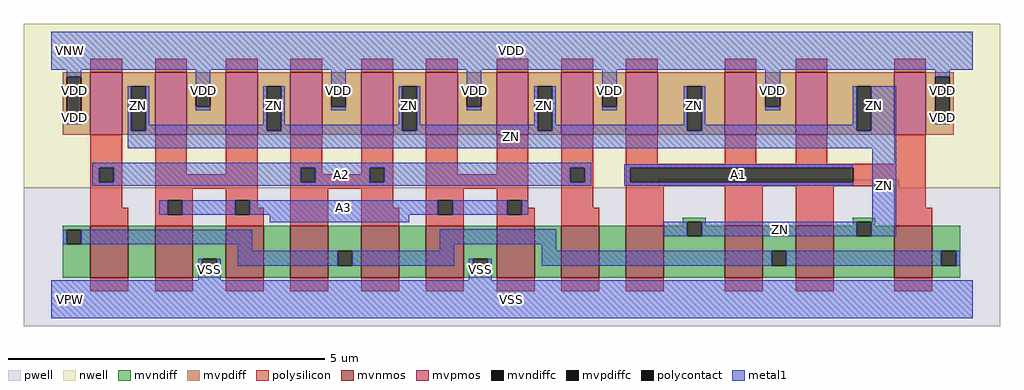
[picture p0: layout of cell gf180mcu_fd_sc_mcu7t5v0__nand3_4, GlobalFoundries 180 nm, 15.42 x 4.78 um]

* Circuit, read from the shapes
.subckt gf180mcu_fd_sc_mcu7t5v0__nand3_4 A1 A2 A3 ZN VDD VNW VPW VSS
XM1 n1 A2 n2 VPW nfet_06v0 w=0.82u l=0.6u
XM2 VSS A3 n1 VPW nfet_06v0 w=0.82u l=0.6u
XM3 n3 A3 VSS VPW nfet_06v0 w=0.82u l=0.6u
XM4 n2 A2 n3 VPW nfet_06v0 w=0.82u l=0.6u
XM5 n4 A2 n2 VPW nfet_06v0 w=0.82u l=0.6u
XM6 VSS A3 n4 VPW nfet_06v0 w=0.82u l=0.6u
XM7 n5 A3 VSS VPW nfet_06v0 w=0.82u l=0.6u
XM8 n6 A2 n5 VPW nfet_06v0 w=0.82u l=0.6u
XM9 ZN A1 n6 VPW nfet_06v0 w=0.82u l=0.6u
XM10 n2 A1 ZN VPW nfet_06v0 w=0.82u l=0.6u m=3
XM11 ZN A2 VDD VNW pfet_06v0 w=0.985u l=0.5u m=4
XM12 VDD A3 ZN VNW pfet_06v0 w=0.985u l=0.5u m=4
XM13 ZN A1 VDD VNW pfet_06v0 w=0.985u l=0.5u m=4
.ends

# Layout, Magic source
magic
tech gf180mcuD
magscale 1 10
<< nwell >>
rect -86 377 2998 870
rect -86 352 1922 377
rect 2678 352 2998 377
<< pwell >>
rect 1922 352 2678 377
rect -86 -86 2998 352
<< mvnmos >>
rect 124 68 244 232
rect 328 68 448 232
rect 552 68 672 232
rect 756 68 876 232
rect 980 68 1100 232
rect 1184 68 1304 232
rect 1408 68 1528 232
rect 1612 68 1732 232
rect 1816 68 1936 232
rect 2128 68 2248 232
rect 2352 68 2472 232
rect 2664 68 2784 232
<< mvpmos >>
rect 124 519 224 716
rect 328 519 428 716
rect 552 519 652 716
rect 756 519 856 716
rect 980 519 1080 716
rect 1184 519 1284 716
rect 1408 519 1508 716
rect 1612 519 1712 716
rect 1816 519 1916 716
rect 2128 519 2228 716
rect 2352 519 2452 716
rect 2664 519 2764 716
<< mvndiff >>
rect 1996 244 2068 257
rect 1996 232 2009 244
rect 36 219 124 232
rect 36 173 49 219
rect 95 173 124 219
rect 36 68 124 173
rect 244 68 328 232
rect 448 127 552 232
rect 448 81 477 127
rect 523 81 552 127
rect 448 68 552 81
rect 672 68 756 232
rect 876 152 980 232
rect 876 106 905 152
rect 951 106 980 152
rect 876 68 980 106
rect 1100 68 1184 232
rect 1304 127 1408 232
rect 1304 81 1333 127
rect 1379 81 1408 127
rect 1304 68 1408 81
rect 1528 68 1612 232
rect 1732 68 1816 232
rect 1936 198 2009 232
rect 2055 232 2068 244
rect 2532 244 2604 257
rect 2532 232 2545 244
rect 2055 198 2128 232
rect 1936 68 2128 198
rect 2248 152 2352 232
rect 2248 106 2277 152
rect 2323 106 2352 152
rect 2248 68 2352 106
rect 2472 198 2545 232
rect 2591 232 2604 244
rect 2591 198 2664 232
rect 2472 68 2664 198
rect 2784 152 2872 232
rect 2784 106 2813 152
rect 2859 106 2872 152
rect 2784 68 2872 106
<< mvpdiff >>
rect 36 703 124 716
rect 36 563 49 703
rect 95 563 124 703
rect 36 519 124 563
rect 224 672 328 716
rect 224 532 253 672
rect 299 532 328 672
rect 224 519 328 532
rect 428 654 552 716
rect 428 608 457 654
rect 503 608 552 654
rect 428 519 552 608
rect 652 672 756 716
rect 652 532 681 672
rect 727 532 756 672
rect 652 519 756 532
rect 856 654 980 716
rect 856 608 885 654
rect 931 608 980 654
rect 856 519 980 608
rect 1080 672 1184 716
rect 1080 532 1109 672
rect 1155 532 1184 672
rect 1080 519 1184 532
rect 1284 654 1408 716
rect 1284 608 1313 654
rect 1359 608 1408 654
rect 1284 519 1408 608
rect 1508 672 1612 716
rect 1508 532 1537 672
rect 1583 532 1612 672
rect 1508 519 1612 532
rect 1712 654 1816 716
rect 1712 608 1741 654
rect 1787 608 1816 654
rect 1712 519 1816 608
rect 1916 672 2128 716
rect 1916 532 2009 672
rect 2055 532 2128 672
rect 1916 519 2128 532
rect 2228 654 2352 716
rect 2228 608 2257 654
rect 2303 608 2352 654
rect 2228 519 2352 608
rect 2452 672 2664 716
rect 2452 532 2545 672
rect 2591 532 2664 672
rect 2452 519 2664 532
rect 2764 703 2852 716
rect 2764 563 2793 703
rect 2839 563 2852 703
rect 2764 519 2852 563
<< mvndiffc >>
rect 49 173 95 219
rect 477 81 523 127
rect 905 106 951 152
rect 1333 81 1379 127
rect 2009 198 2055 244
rect 2277 106 2323 152
rect 2545 198 2591 244
rect 2813 106 2859 152
<< mvpdiffc >>
rect 49 563 95 703
rect 253 532 299 672
rect 457 608 503 654
rect 681 532 727 672
rect 885 608 931 654
rect 1109 532 1155 672
rect 1313 608 1359 654
rect 1537 532 1583 672
rect 1741 608 1787 654
rect 2009 532 2055 672
rect 2257 608 2303 654
rect 2545 532 2591 672
rect 2793 563 2839 703
<< polysilicon >>
rect 124 716 224 760
rect 328 716 428 760
rect 552 716 652 760
rect 756 716 856 760
rect 980 716 1080 760
rect 1184 716 1284 760
rect 1408 716 1508 760
rect 1612 716 1712 760
rect 1816 716 1916 760
rect 2128 716 2228 760
rect 2352 716 2452 760
rect 2664 716 2764 760
rect 124 415 224 519
rect 124 369 152 415
rect 198 369 224 415
rect 124 288 224 369
rect 328 394 428 519
rect 552 394 652 519
rect 328 348 652 394
rect 328 312 448 348
rect 124 232 244 288
rect 328 266 368 312
rect 414 266 448 312
rect 328 232 448 266
rect 552 312 652 348
rect 552 266 582 312
rect 628 288 652 312
rect 756 415 856 519
rect 756 369 789 415
rect 835 394 856 415
rect 980 415 1080 519
rect 980 394 1007 415
rect 835 369 1007 394
rect 1053 369 1080 415
rect 756 348 1080 369
rect 628 266 672 288
rect 552 232 672 266
rect 756 232 876 348
rect 980 288 1080 348
rect 1184 394 1284 519
rect 1408 394 1508 519
rect 1184 348 1508 394
rect 1184 312 1304 348
rect 980 232 1100 288
rect 1184 266 1222 312
rect 1268 266 1304 312
rect 1184 232 1304 266
rect 1408 312 1508 348
rect 1408 266 1441 312
rect 1487 288 1508 312
rect 1612 415 1712 519
rect 1612 369 1640 415
rect 1686 369 1712 415
rect 1612 288 1712 369
rect 1816 428 1916 519
rect 2128 428 2228 519
rect 2352 428 2452 519
rect 2664 428 2764 519
rect 1816 415 2764 428
rect 1816 369 1830 415
rect 2534 369 2764 415
rect 1816 356 2764 369
rect 1487 266 1528 288
rect 1408 232 1528 266
rect 1612 232 1732 288
rect 1816 232 1936 356
rect 2128 232 2248 356
rect 2352 232 2472 356
rect 2664 288 2764 356
rect 2664 232 2784 288
rect 124 24 244 68
rect 328 24 448 68
rect 552 24 672 68
rect 756 24 876 68
rect 980 24 1100 68
rect 1184 24 1304 68
rect 1408 24 1528 68
rect 1612 24 1732 68
rect 1816 24 1936 68
rect 2128 24 2248 68
rect 2352 24 2472 68
rect 2664 24 2784 68
<< polycontact >>
rect 152 369 198 415
rect 368 266 414 312
rect 582 266 628 312
rect 789 369 835 415
rect 1007 369 1053 415
rect 1222 266 1268 312
rect 1441 266 1487 312
rect 1640 369 1686 415
rect 1830 369 2534 415
<< metal1 >>
rect 0 724 2912 844
rect 49 703 95 724
rect 49 552 95 563
rect 242 532 253 672
rect 299 551 310 672
rect 457 654 503 724
rect 457 597 503 608
rect 670 551 681 672
rect 299 532 681 551
rect 727 551 738 672
rect 885 654 931 724
rect 885 597 931 608
rect 1098 551 1109 672
rect 727 532 1109 551
rect 1155 551 1166 672
rect 1313 654 1359 724
rect 1313 597 1359 608
rect 1526 551 1537 672
rect 1155 532 1537 551
rect 1583 551 1594 672
rect 1741 654 1787 724
rect 1741 597 1787 608
rect 1998 551 2009 672
rect 1583 532 2009 551
rect 2055 551 2066 672
rect 2257 654 2303 724
rect 2793 703 2839 724
rect 2257 597 2303 608
rect 2532 551 2545 672
rect 2055 532 2545 551
rect 2591 532 2670 672
rect 2793 552 2839 563
rect 242 476 2670 532
rect 130 415 1706 430
rect 130 369 152 415
rect 198 369 789 415
rect 835 369 1007 415
rect 1053 369 1640 415
rect 1686 369 1706 415
rect 130 358 1706 369
rect 1810 415 2534 426
rect 1810 369 1830 415
rect 1810 358 2534 369
rect 342 266 368 312
rect 414 266 582 312
rect 628 266 1222 312
rect 1268 266 1441 312
rect 1487 266 1508 312
rect 690 242 1132 266
rect 2594 244 2670 476
rect 36 173 49 219
rect 95 173 635 219
rect 589 152 635 173
rect 1227 173 1596 220
rect 1936 198 2009 244
rect 2055 198 2545 244
rect 2591 198 2670 244
rect 1227 152 1273 173
rect 464 81 477 127
rect 523 81 536 127
rect 589 106 905 152
rect 951 106 1273 152
rect 1550 152 1596 173
rect 464 60 536 81
rect 1320 81 1333 127
rect 1379 81 1392 127
rect 1550 106 2277 152
rect 2323 106 2813 152
rect 2859 106 2872 152
rect 1320 60 1392 81
rect 0 -60 2912 60
<< labels >>
flabel metal1 s 342 266 1508 312 0 FreeSans 400 0 0 0 A3
port 3 nsew default input
flabel metal1 s 0 724 2912 844 0 FreeSans 400 0 0 0 VDD
port 5 nsew power bidirectional abutment
flabel metal1 s 1320 60 1392 127 0 FreeSans 400 0 0 0 VSS
port 8 nsew ground bidirectional abutment
flabel metal1 s 2532 551 2670 672 0 FreeSans 400 0 0 0 ZN
port 4 nsew default output
flabel metal1 s 1810 358 2534 426 0 FreeSans 400 0 0 0 A1
port 1 nsew default input
flabel metal1 s 130 358 1706 430 0 FreeSans 400 0 0 0 A2
port 2 nsew default input
flabel nwell s 10 734 110 834 0 FreeSans 400 0 0 0 VNW
port 6 nsew power bidirectional
flabel pwell s 10 -50 110 50 0 FreeSans 400 0 0 0 VPW
port 7 nsew ground bidirectional
rlabel metal1 s 690 242 1132 266 1 A3
port 3 nsew default input
rlabel metal1 s 1998 551 2066 672 1 ZN
port 4 nsew default output
rlabel metal1 s 1526 551 1594 672 1 ZN
port 4 nsew default output
rlabel metal1 s 1098 551 1166 672 1 ZN
port 4 nsew default output
rlabel metal1 s 670 551 738 672 1 ZN
port 4 nsew default output
rlabel metal1 s 242 551 310 672 1 ZN
port 4 nsew default output
rlabel metal1 s 242 476 2670 551 1 ZN
port 4 nsew default output
rlabel metal1 s 2594 244 2670 476 1 ZN
port 4 nsew default output
rlabel metal1 s 1936 198 2670 244 1 ZN
port 4 nsew default output
rlabel metal1 s 2793 597 2839 724 1 VDD
port 5 nsew power bidirectional abutment
rlabel metal1 s 2257 597 2303 724 1 VDD
port 5 nsew power bidirectional abutment
rlabel metal1 s 1741 597 1787 724 1 VDD
port 5 nsew power bidirectional abutment
rlabel metal1 s 1313 597 1359 724 1 VDD
port 5 nsew power bidirectional abutment
rlabel metal1 s 885 597 931 724 1 VDD
port 5 nsew power bidirectional abutment
rlabel metal1 s 457 597 503 724 1 VDD
port 5 nsew power bidirectional abutment
rlabel metal1 s 49 597 95 724 1 VDD
port 5 nsew power bidirectional abutment
rlabel metal1 s 2793 552 2839 597 1 VDD
port 5 nsew power bidirectional abutment
rlabel metal1 s 49 552 95 597 1 VDD
port 5 nsew power bidirectional abutment
rlabel metal1 s 464 60 536 127 1 VSS
port 8 nsew ground bidirectional abutment
rlabel metal1 s 0 -60 2912 60 1 VSS
port 8 nsew ground bidirectional abutment
<< properties >>
string FIXED_BBOX 0 0 2912 784
string GDS_END 722672
string GDS_FILE $PDKPATH/libs.ref/gf180mcu_fd_sc_mcu7t5v0/gds/gf180mcu_fd_sc_mcu7t5v0.gds
string GDS_START 716272
string LEFclass core
string LEFsite GF018hv5v_mcu_sc7
string LEFsymmetry X Y
<< end >>
